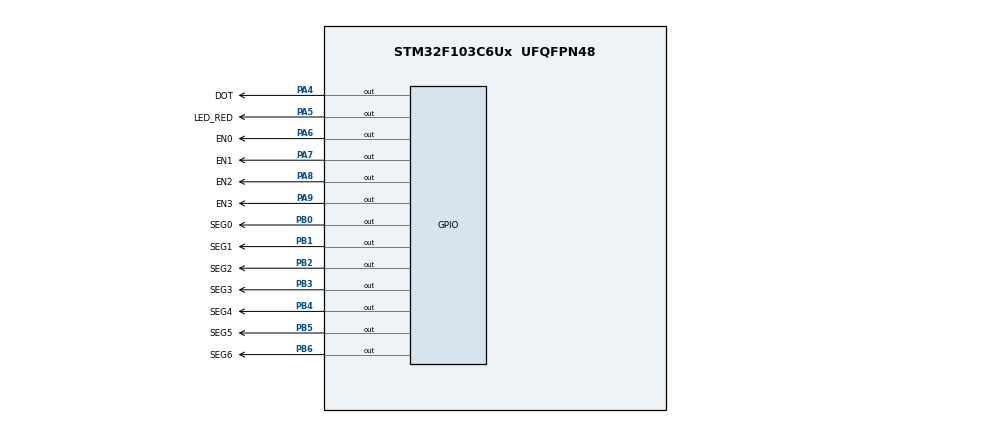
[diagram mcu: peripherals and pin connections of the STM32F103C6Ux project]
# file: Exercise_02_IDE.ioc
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Mcu.Family=STM32F1
Mcu.Name=STM32F103C6Ux
Mcu.Package=UFQFPN48
NVIC.PriorityGroup=NVIC_PRIORITYGROUP_4
NVIC.TIM2_IRQn=true\:0\:0\:false\:false\:true\:true\:true\:true
PA13.Mode=Serial_Wire
PA13.Signal=SYS_JTMS-SWDIO
PA14.Mode=Serial_Wire
PA14.Signal=SYS_JTCK-SWCLK
PA4.GPIO_Label=DOT
PA4.PinState=GPIO_PIN_SET
PA4.Signal=GPIO_Output
PA5.GPIO_Label=LED_RED
PA5.PinState=GPIO_PIN_SET
PA5.Signal=GPIO_Output
PA6.GPIO_Label=EN0
PA6.PinState=GPIO_PIN_SET
PA6.Signal=GPIO_Output
PA7.GPIO_Label=EN1
PA7.PinState=GPIO_PIN_SET
PA7.Signal=GPIO_Output
PA8.GPIO_Label=EN2
PA8.PinState=GPIO_PIN_SET
PA8.Signal=GPIO_Output
PA9.GPIO_Label=EN3
PA9.PinState=GPIO_PIN_SET
PA9.Signal=GPIO_Output
PB0.GPIO_Label=SEG0
PB0.PinState=GPIO_PIN_SET
PB0.Signal=GPIO_Output
PB1.GPIO_Label=SEG1
PB1.PinState=GPIO_PIN_SET
PB1.Signal=GPIO_Output
PB2.GPIO_Label=SEG2
PB2.PinState=GPIO_PIN_SET
PB2.Signal=GPIO_Output
PB3.GPIO_Label=SEG3
PB3.PinState=GPIO_PIN_SET
PB3.Signal=GPIO_Output
PB4.GPIO_Label=SEG4
PB4.PinState=GPIO_PIN_SET
PB4.Signal=GPIO_Output
PB5.GPIO_Label=SEG5
PB5.PinState=GPIO_PIN_SET
PB5.Signal=GPIO_Output
PB6.GPIO_Label=SEG6
PB6.PinState=GPIO_PIN_SET
PB6.Signal=GPIO_Output
ProjectManager.HeapSize=0x200
ProjectManager.StackSize=0x400
ProjectManager.TargetToolchain=STM32CubeIDE
RCC.APB1Freq_Value=8000000
RCC.APB2Freq_Value=8000000
TIM2.Period=9
TIM2.Prescaler=7999
VP_TIM2_VS_ClockSourceINT.Mode=Internal
board=custom

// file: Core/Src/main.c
/* USER CODE BEGIN Header */
/**
  ******************************************************************************
  * @file           : main.c
  * @brief          : Main program body
  ******************************************************************************
  * @attention
  *
  * Copyright (c) 2026 STMicroelectronics.
  * All rights reserved.
  *
  * This software is licensed under terms that can be found in the LICENSE file
  * in the root directory of this software component.
  * If no LICENSE file comes with this software, it is provided AS-IS.
  *
  ******************************************************************************
  */
/* USER CODE END Header */
#include "main.h"

TIM_HandleTypeDef htim2;

void SystemClock_Config(void);
static void MX_GPIO_Init(void);
static void MX_TIM2_Init(void);
/* USER CODE BEGIN PFP */
static void display7SEG(uint8_t number);
static void select7SEG(uint8_t position);

/* USER CODE END PFP */

int main(void)
{

  /* MCU Configuration--------------------------------------------------------*/

  /* Reset of all peripherals, Initializes the Flash interface and the Systick. */
  HAL_Init();

  /* Configure the system clock */
  SystemClock_Config();

  /* Initialize all configured peripherals */
  MX_GPIO_Init();
  MX_TIM2_Init();
  /* USER CODE BEGIN 2 */
  HAL_GPIO_WritePin(LED_RED_GPIO_Port, LED_RED_Pin, GPIO_PIN_RESET);
  HAL_GPIO_WritePin(DOT_GPIO_Port, DOT_Pin, GPIO_PIN_SET);

  select7SEG(0);

  if (HAL_TIM_Base_Start_IT(&htim2) != HAL_OK)
  {
      Error_Handler();
  }

  /* USER CODE END 2 */

  /* Infinite loop */
  while (1)
  {

  }
}

void SystemClock_Config(void)
{
  RCC_OscInitTypeDef RCC_OscInitStruct = {0};
  RCC_ClkInitTypeDef RCC_ClkInitStruct = {0};

  /** Initializes the RCC Oscillators according to the specified parameters
  * in the RCC_OscInitTypeDef structure.
  */
  RCC_OscInitStruct.OscillatorType = RCC_OSCILLATORTYPE_HSI;
  RCC_OscInitStruct.HSIState = RCC_HSI_ON;
  RCC_OscInitStruct.HSICalibrationValue = RCC_HSICALIBRATION_DEFAULT;
  RCC_OscInitStruct.PLL.PLLState = RCC_PLL_NONE;
  if (HAL_RCC_OscConfig(&RCC_OscInitStruct) != HAL_OK)
  {
    Error_Handler();
  }

  /** Initializes the CPU, AHB and APB buses clocks
  */
  RCC_ClkInitStruct.ClockType = RCC_CLOCKTYPE_HCLK|RCC_CLOCKTYPE_SYSCLK
                              |RCC_CLOCKTYPE_PCLK1|RCC_CLOCKTYPE_PCLK2;
  RCC_ClkInitStruct.SYSCLKSource = RCC_SYSCLKSOURCE_HSI;
  RCC_ClkInitStruct.AHBCLKDivider = RCC_SYSCLK_DIV1;
  RCC_ClkInitStruct.APB1CLKDivider = RCC_HCLK_DIV1;
  RCC_ClkInitStruct.APB2CLKDivider = RCC_HCLK_DIV1;

  if (HAL_RCC_ClockConfig(&RCC_ClkInitStruct, FLASH_LATENCY_0) != HAL_OK)
  {
    Error_Handler();
  }
}

static void MX_TIM2_Init(void)
{

  TIM_ClockConfigTypeDef sClockSourceConfig = {0};
  TIM_MasterConfigTypeDef sMasterConfig = {0};

  htim2.Instance = TIM2;
  htim2.Init.Prescaler = 7999;
  htim2.Init.CounterMode = TIM_COUNTERMODE_UP;
  htim2.Init.Period = 9;
  htim2.Init.ClockDivision = TIM_CLOCKDIVISION_DIV1;
  htim2.Init.AutoReloadPreload = TIM_AUTORELOAD_PRELOAD_DISABLE;
  if (HAL_TIM_Base_Init(&htim2) != HAL_OK)
  {
    Error_Handler();
  }
  sClockSourceConfig.ClockSource = TIM_CLOCKSOURCE_INTERNAL;
  if (HAL_TIM_ConfigClockSource(&htim2, &sClockSourceConfig) != HAL_OK)
  {
    Error_Handler();
  }
  sMasterConfig.MasterOutputTrigger = TIM_TRGO_RESET;
  sMasterConfig.MasterSlaveMode = TIM_MASTERSLAVEMODE_DISABLE;
  if (HAL_TIMEx_MasterConfigSynchronization(&htim2, &sMasterConfig) != HAL_OK)
  {
    Error_Handler();
  }

}

static void MX_GPIO_Init(void)
{
  GPIO_InitTypeDef GPIO_InitStruct = {0};

  /* GPIO Ports Clock Enable */
  __HAL_RCC_GPIOA_CLK_ENABLE();
  __HAL_RCC_GPIOB_CLK_ENABLE();

  /*Configure GPIO pin Output Level */
  HAL_GPIO_WritePin(GPIOA, DOT_Pin|LED_RED_Pin|EN0_Pin|EN1_Pin
                          |EN2_Pin|EN3_Pin, GPIO_PIN_SET);

  /*Configure GPIO pin Output Level */
  HAL_GPIO_WritePin(GPIOB, SEG0_Pin|SEG1_Pin|SEG2_Pin|SEG3_Pin
                          |SEG4_Pin|SEG5_Pin|SEG6_Pin, GPIO_PIN_SET);

  /*Configure GPIO pins : DOT_Pin LED_RED_Pin EN0_Pin EN1_Pin
                           EN2_Pin EN3_Pin */
  GPIO_InitStruct.Pin = DOT_Pin|LED_RED_Pin|EN0_Pin|EN1_Pin
                          |EN2_Pin|EN3_Pin;
  GPIO_InitStruct.Mode = GPIO_MODE_OUTPUT_PP;
  GPIO_InitStruct.Pull = GPIO_NOPULL;
  GPIO_InitStruct.Speed = GPIO_SPEED_FREQ_LOW;
  HAL_GPIO_Init(GPIOA, &GPIO_InitStruct);

  /*Configure GPIO pins : SEG0_Pin SEG1_Pin SEG2_Pin SEG3_Pin
                           SEG4_Pin SEG5_Pin SEG6_Pin */
  GPIO_InitStruct.Pin = SEG0_Pin|SEG1_Pin|SEG2_Pin|SEG3_Pin
                          |SEG4_Pin|SEG5_Pin|SEG6_Pin;
  GPIO_InitStruct.Mode = GPIO_MODE_OUTPUT_PP;
  GPIO_InitStruct.Pull = GPIO_NOPULL;
  GPIO_InitStruct.Speed = GPIO_SPEED_FREQ_LOW;
  HAL_GPIO_Init(GPIOB, &GPIO_InitStruct);

}

/* USER CODE BEGIN 4 */

static const uint8_t sevenSegmentCode[10] =
{
    0x3F, /* 0 */
    0x06, /* 1 */
    0x5B, /* 2 */
    0x4F, /* 3 */
    0x66, /* 4 */
    0x6D, /* 5 */
    0x7D, /* 6 */
    0x07, /* 7 */
    0x7F, /* 8 */
    0x6F  /* 9 */
};

static void display7SEG(uint8_t number)
{
    uint8_t code;

    if (number > 9)
    {
        return;
    }

    code = sevenSegmentCode[number];

    HAL_GPIO_WritePin(SEG0_GPIO_Port, SEG0_Pin,
            (code & (1U << 0)) ? GPIO_PIN_RESET : GPIO_PIN_SET);

    HAL_GPIO_WritePin(SEG1_GPIO_Port, SEG1_Pin,
            (code & (1U << 1)) ? GPIO_PIN_RESET : GPIO_PIN_SET);

    HAL_GPIO_WritePin(SEG2_GPIO_Port, SEG2_Pin,
            (code & (1U << 2)) ? GPIO_PIN_RESET : GPIO_PIN_SET);

    HAL_GPIO_WritePin(SEG3_GPIO_Port, SEG3_Pin,
            (code & (1U << 3)) ? GPIO_PIN_RESET : GPIO_PIN_SET);

    HAL_GPIO_WritePin(SEG4_GPIO_Port, SEG4_Pin,
            (code & (1U << 4)) ? GPIO_PIN_RESET : GPIO_PIN_SET);

    HAL_GPIO_WritePin(SEG5_GPIO_Port, SEG5_Pin,
            (code & (1U << 5)) ? GPIO_PIN_RESET : GPIO_PIN_SET);

    HAL_GPIO_WritePin(SEG6_GPIO_Port, SEG6_Pin,
            (code & (1U << 6)) ? GPIO_PIN_RESET : GPIO_PIN_SET);
}

static void select7SEG(uint8_t position)
{
    HAL_GPIO_WritePin(EN0_GPIO_Port, EN0_Pin, GPIO_PIN_SET);
    HAL_GPIO_WritePin(EN1_GPIO_Port, EN1_Pin, GPIO_PIN_SET);
    HAL_GPIO_WritePin(EN2_GPIO_Port, EN2_Pin, GPIO_PIN_SET);
    HAL_GPIO_WritePin(EN3_GPIO_Port, EN3_Pin, GPIO_PIN_SET);

    switch (position)
    {
        case 0:
            display7SEG(1);
            HAL_GPIO_WritePin(EN0_GPIO_Port, EN0_Pin, GPIO_PIN_RESET);
            break;

        case 1:
            display7SEG(2);
            HAL_GPIO_WritePin(EN1_GPIO_Port, EN1_Pin, GPIO_PIN_RESET);
            break;

        case 2:
            display7SEG(3);
            HAL_GPIO_WritePin(EN2_GPIO_Port, EN2_Pin, GPIO_PIN_RESET);
            break;

        case 3:
            display7SEG(0);
            HAL_GPIO_WritePin(EN3_GPIO_Port, EN3_Pin, GPIO_PIN_RESET);
            break;

        default:
            break;
    }
}

void HAL_TIM_PeriodElapsedCallback(TIM_HandleTypeDef *htim)
{
    static uint8_t counter500ms = 0;
    static uint8_t counter1000ms = 0;
    static uint8_t currentPosition = 0;

    if (htim->Instance == TIM2)
    {
        counter500ms++;
        counter1000ms++;

        if (counter500ms >= 50)
        {
            counter500ms = 0;

            currentPosition++;

            if (currentPosition >= 4)
            {
                currentPosition = 0;
            }

            select7SEG(currentPosition);
        }

        if (counter1000ms >= 100)
        {
            counter1000ms = 0;

            HAL_GPIO_TogglePin(DOT_GPIO_Port, DOT_Pin);
        }
    }
}

/* USER CODE END 4 */

void Error_Handler(void)
{
  __disable_irq();
  while (1)
  {
  }
}
